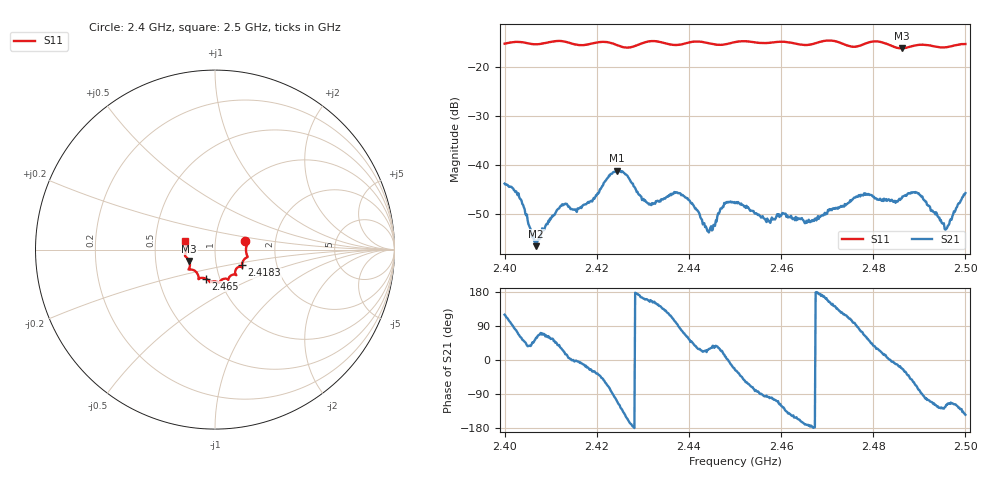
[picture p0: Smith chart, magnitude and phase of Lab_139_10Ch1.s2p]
# Hz S RI R 50
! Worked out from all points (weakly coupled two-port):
!   601 points, 2.4 GHz to 2.5 GHz, reference 50 ohm
!   highest |S21| = -41.15 dB at 2.4243 GHz (marker M1); lowest = -56.7 dB at 2.4068 GHz (marker M2)
!   lowest |S11| = -16.1 dB at 2.4862 GHz (marker M3), VSWR 1.37, Z = 37.2 - j4.79 ohm
!   |S11| at or under -10 dB: start of sweep to end of sweep
!   S12 and S22 are empty: the file has one direction only
!   S11 on the Smith chart (normalised r, x): 2.4 GHz: 1.40, +0.13; 2.4183 GHz: 1.33, -0.24; 2.465 GHz: 0.86, -0.28; 2.5 GHz: 0.71, +0.07
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2.4e9  0.1687 0.0464  -0.00318 0.00559  0 0  0 0
2.403167e9  0.1796 0.0321  0.00195 0.00426  0 0  0 0
2.406833e9  0.1725 -0.00114  0.000759 0.00126  0 0  0 0
2.412333e9  0.1815 -0.0418  0.0033 0.00193  0 0  0 0
2.416667e9  0.1545 -0.0679  0.00357 -0.000563  0 0  0 0
2.418333e9  0.1497 -0.0869  0.00375 -0.00166  0 0  0 0
2.424333e9  0.1405 -0.095  -0.00259 -0.00837  0 0  0 0
2.430833e9  0.1162 -0.1412  -0.00391 0.00138  0 0  0 0
2.433333e9  0.1178 -0.141  -0.00356 0.00237  0 0  0 0
2.438333e9  0.0806 -0.1516  0.000954 0.00479  0 0  0 0
2.4445e9  0.0655 -0.1629  0.00187 0.00106  0 0  0 0
2.447833e9  0.0371 -0.1681  0.00395 0.000658  0 0  0 0
2.45e9  0.0255 -0.1799  0.00364 -0.00178  0 0  0 0
2.457167e9  -0.0109 -0.1777  -0.000343 -0.00263  0 0  0 0
2.465e9  -0.0524 -0.1614  -0.00256 -0.000545  0 0  0 0
2.466667e9  -0.0713 -0.1572  -0.0027 -0.000249  0 0  0 0
2.477833e9  -0.1312 -0.1111  0.00177 0.00453  0 0  0 0
2.483333e9  -0.1411 -0.0967  0.00444 0.000199  0 0  0 0
2.486167e9  -0.1436 -0.0629  0.00422 -0.00165  0 0  0 0
2.489833e9  -0.1659 -0.0375  0.00103 -0.00503  0 0  0 0
2.496e9  -0.1604 0.016  -0.00108 -0.00197  0 0  0 0
2.5e9  -0.167 0.0471  -0.00419 -0.003  0 0  0 0
